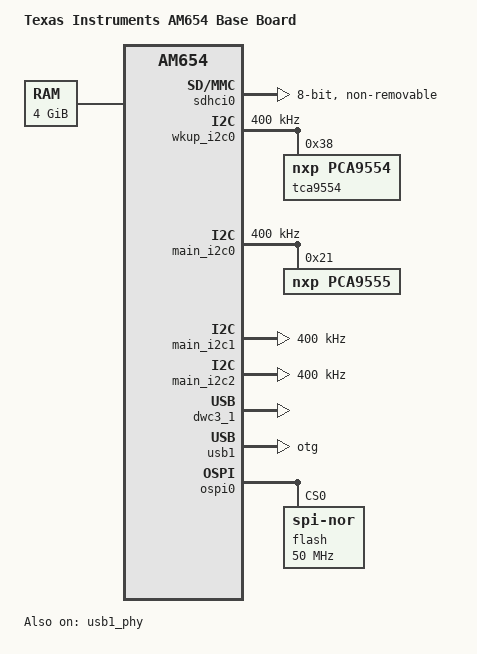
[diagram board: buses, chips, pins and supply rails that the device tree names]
// SPDX-License-Identifier: GPL-2.0
/*
 * Copyright (C) 2016-2018 Texas Instruments Incorporated - http://www.ti.com/
 */

/dts-v1/;

#include "k3-am654.dtsi"
#include <dt-bindings/pinctrl/k3.h>

/ {
	compatible =  "ti,am654-evm", "ti,am654";
	model = "Texas Instruments AM654 Base Board";

	chosen {
		stdout-path = "serial2:115200n8";
		bootargs = "earlycon=ns16550a,mmio32,0x02800000";
	};

	aliases {
		remoteproc0 = &mcu_r5fss0_core0;
		remoteproc1 = &mcu_r5fss0_core1;
	};

	memory@80000000 {
		device_type = "memory";
		/* 4G RAM */
		reg = <0x00000000 0x80000000 0x00000000 0x80000000>,
		      <0x00000008 0x80000000 0x00000000 0x80000000>;
	};

	reserved-memory {
		#address-cells = <2>;
		#size-cells = <2>;
		ranges;
		secure_ddr: secure_ddr@9e800000 {
			reg = <0 0x9e800000 0 0x01800000>; /* for OP-TEE */
			alignment = <0x1000>;
			no-map;
		};
	};
};

&main_pmx0 {
	main_mmc0_pins_default: main_mmc0_pins_default {
		pinctrl-single,pins = <
			AM65X_IOPAD(0x01a8, PIN_INPUT_PULLDOWN, 0)	/* (B25) MMC0_CLK */
			AM65X_IOPAD(0x01aC, PIN_INPUT_PULLUP, 0)	/* (B27) MMC0_CMD */
			AM65X_IOPAD(0x01a4, PIN_INPUT_PULLUP, 0)	/* (A26) MMC0_DAT0 */
			AM65X_IOPAD(0x01a0, PIN_INPUT_PULLUP, 0)	/* (E25) MMC0_DAT1 */
			AM65X_IOPAD(0x019c, PIN_INPUT_PULLUP, 0)	/* (C26) MMC0_DAT2 */
			AM65X_IOPAD(0x0198, PIN_INPUT_PULLUP, 0)	/* (A25) MMC0_DAT3 */
			AM65X_IOPAD(0x0194, PIN_INPUT_PULLUP, 0)	/* (E24) MMC0_DAT4 */
			AM65X_IOPAD(0x0190, PIN_INPUT_PULLUP, 0)	/* (A24) MMC0_DAT5 */
			AM65X_IOPAD(0x018c, PIN_INPUT_PULLUP, 0)	/* (B26) MMC0_DAT6 */
			AM65X_IOPAD(0x0188, PIN_INPUT_PULLUP, 0)	/* (D25) MMC0_DAT7 */
			AM65X_IOPAD(0x01b4, PIN_INPUT_PULLUP, 0)	/* (A23) MMC0_SDCD */
			AM65X_IOPAD(0x01b0, PIN_INPUT, 0)		/* (C25) MMC0_DS */
		>;
	};

	usb1_pins_default: usb1_pins_default {
		pinctrl-single,pins = <
			AM65X_IOPAD(0x02c0, PIN_OUTPUT, 0) /* (AC8) USB1_DRVVBUS */
		>;
	};

	main_i2c2_pins_default: main-i2c2-pins-default {
		pinctrl-single,pins = <
			AM65X_IOPAD(0x0074, PIN_INPUT, 5) /* (T27) GPMC0_CSn3.I2C2_SCL */
			AM65X_IOPAD(0x0070, PIN_INPUT, 5) /* (R25) GPMC0_CSn2.I2C2_SDA */
		>;
	};
};

&main_pmx1 {
	main_i2c0_pins_default: main-i2c0-pins-default {
		pinctrl-single,pins = <
			AM65X_IOPAD(0x0000, PIN_INPUT, 0) /* (D20) I2C0_SCL */
			AM65X_IOPAD(0x0004, PIN_INPUT, 0) /* (C21) I2C0_SDA */
		>;
	};

	main_i2c1_pins_default: main-i2c1-pins-default {
		pinctrl-single,pins = <
			AM65X_IOPAD(0x0008, PIN_INPUT, 0) /* (B21) I2C1_SCL */
			AM65X_IOPAD(0x000c, PIN_INPUT, 0) /* (E21) I2C1_SDA */
		>;
	};
};

&wkup_pmx0 {
	wkup_i2c0_pins_default: wkup-i2c0-pins-default {
		pinctrl-single,pins = <
			AM65X_WKUP_IOPAD(0x00e0, PIN_INPUT, 0) /* (AC7) WKUP_I2C0_SCL */
			AM65X_WKUP_IOPAD(0x00e4, PIN_INPUT, 0) /* (AD6) WKUP_I2C0_SDA */
		>;
	};

	mcu_fss0_ospi0_pins_default: mcu-fss0-ospi0-pins_default {
		pinctrl-single,pins = <
			AM65X_WKUP_IOPAD(0x0000, PIN_OUTPUT, 0) /* (V1) MCU_OSPI0_CLK */
			AM65X_WKUP_IOPAD(0x0008, PIN_INPUT, 0)	 /* (U2) MCU_OSPI0_DQS */
			AM65X_WKUP_IOPAD(0x000c, PIN_INPUT, 0)  /* (U4) MCU_OSPI0_D0 */
			AM65X_WKUP_IOPAD(0x0010, PIN_INPUT, 0)  /* (U5) MCU_OSPI0_D1 */
			AM65X_WKUP_IOPAD(0x0014, PIN_INPUT, 0)  /* (T2) MCU_OSPI0_D2 */
			AM65X_WKUP_IOPAD(0x0018, PIN_INPUT, 0)  /* (T3) MCU_OSPI0_D3 */
			AM65X_WKUP_IOPAD(0x001c, PIN_INPUT, 0)  /* (T4) MCU_OSPI0_D4 */
			AM65X_WKUP_IOPAD(0x0020, PIN_INPUT, 0)  /* (T5) MCU_OSPI0_D5 */
			AM65X_WKUP_IOPAD(0x0024, PIN_INPUT, 0)  /* (R2) MCU_OSPI0_D6 */
			AM65X_WKUP_IOPAD(0x0028, PIN_INPUT, 0)  /* (R3) MCU_OSPI0_D7 */
			AM65X_WKUP_IOPAD(0x002c, PIN_OUTPUT, 0) /* (R4) MCU_OSPI0_CSn0 */
		>;
	};
};

&sdhci0 {
	pinctrl-names = "default";
	pinctrl-0 = <&main_mmc0_pins_default>;
	bus-width = <8>;
	non-removable;
	ti,driver-strength-ohm = <50>;
};

&wkup_i2c0 {
	pinctrl-names = "default";
	pinctrl-0 = <&wkup_i2c0_pins_default>;
	clock-frequency = <400000>;

	tca9554: gpio@38 {
		compatible = "nxp,pca9554";
		reg = <0x38>;
		gpio-controller;
		#gpio-cells = <2>;
	};
};

&main_i2c0 {
	pinctrl-names = "default";
	pinctrl-0 = <&main_i2c0_pins_default>;
	clock-frequency = <400000>;

	pca9555: gpio@21 {
		compatible = "nxp,pca9555";
		reg = <0x21>;
		gpio-controller;
		#gpio-cells = <2>;
	};
};

&main_i2c1 {
	pinctrl-names = "default";
	pinctrl-0 = <&main_i2c1_pins_default>;
	clock-frequency = <400000>;
};

&main_i2c2 {
	pinctrl-names = "default";
	pinctrl-0 = <&main_i2c2_pins_default>;
	clock-frequency = <400000>;
};

&dwc3_1 {
	status = "okay";
};

&usb1_phy {
	status = "okay";
};

&usb1 {
	pinctrl-names = "default";
	pinctrl-0 = <&usb1_pins_default>;
	dr_mode = "otg";
};

&dwc3_0 {
	status = "disabled";
};

&usb0_phy {
	status = "disabled";
};

&ospi0 {
	pinctrl-names = "default";
	pinctrl-0 = <&mcu_fss0_ospi0_pins_default>;

	flash@0{
		compatible = "jedec,spi-nor";
		reg = <0x0>;
		spi-tx-bus-width = <1>;
		spi-rx-bus-width = <8>;
		spi-max-frequency = <50000000>;
		cdns,tshsl-ns = <60>;
		cdns,tsd2d-ns = <60>;
		cdns,tchsh-ns = <60>;
		cdns,tslch-ns = <60>;
		cdns,read-delay = <0>;
		#address-cells = <1>;
		#size-cells = <1>;
	};
};
